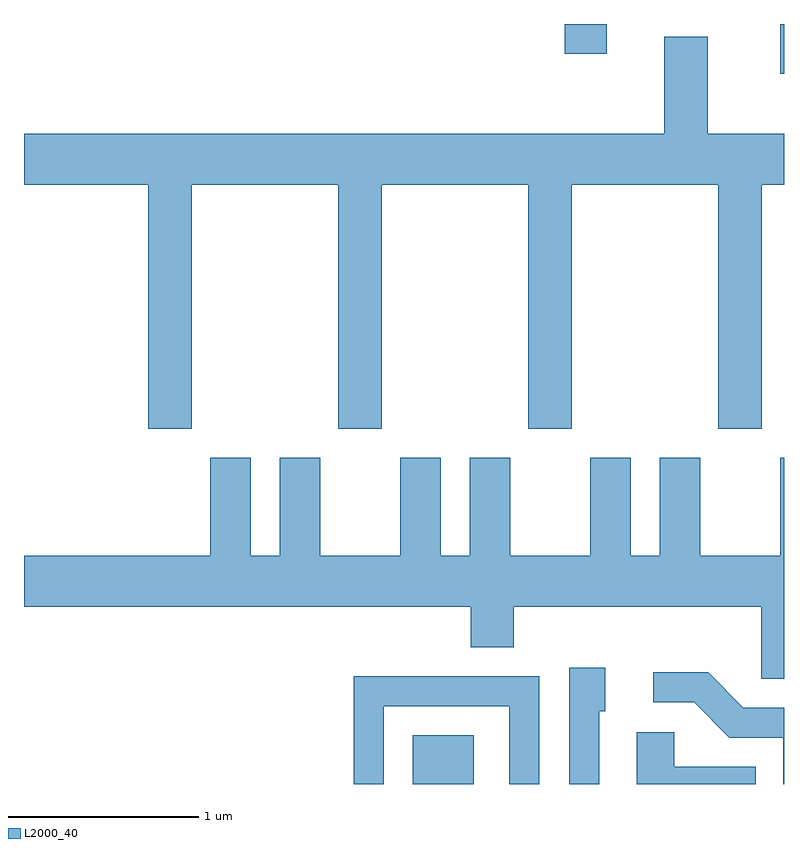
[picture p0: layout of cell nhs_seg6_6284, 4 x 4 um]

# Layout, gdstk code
import gdstk
lib = gdstk.Library(unit=1e-6, precision=1e-09)
def R(c, l, rs):  # rectangles x0, y0, x1, y1
    for r in rs: c.add(gdstk.rectangle(r[:2], r[2:], *l))
def P(c, l, *ps):  # polygons
    for p in ps: c.add(gdstk.Polygon(p, *l))
L2000_40 = (2000, 40)

nhs_seg6_6284 = lib.new_cell('nhs_seg6_6284')
R(nhs_seg6_6284, L2000_40, [(377.656,1600.162,377.979,1600.419), (379.591,1603.901,379.611,1604.162), (378.456,1604.006,378.679,1604.162)])
P(nhs_seg6_6284, L2000_40, [(376.494,1603.316),(377.266,1603.316),(377.266,1602.031),(377.494,1602.031),(377.494,1603.316),(378.266,1603.316),(378.266,1602.031),(378.494,1602.031),(378.494,1603.316),(379.266,1603.316),(379.266,1602.031),(379.494,1602.031),(379.494,1603.316),(379.611,1603.316),(379.611,1603.584),(379.209,1603.584),(379.209,1604.094),(378.981,1604.094),(378.981,1603.584),(375.611,1603.584),(375.611,1603.316),(376.266,1603.316),(376.266,1602.031),(376.494,1602.031)],
  [(379.611,1601.879),(379.591,1601.879),(379.591,1601.364),(379.169,1601.364),(379.169,1601.879),(378.956,1601.879),(378.956,1601.364),(378.804,1601.364),(378.804,1601.879),(378.591,1601.879),(378.591,1601.364),(378.169,1601.364),(378.169,1601.879),(377.956,1601.879),(377.956,1601.364),(377.804,1601.364),(377.804,1601.879),(377.591,1601.879),(377.591,1601.364),(377.169,1601.364),(377.169,1601.879),(376.956,1601.879),(376.956,1601.364),(376.804,1601.364),(376.804,1601.879),(376.591,1601.879),(376.591,1601.364),(375.611,1601.364),(375.611,1601.096),(377.961,1601.096),(377.961,1600.881),(378.189,1600.881),(378.189,1601.096),(379.491,1601.096),(379.491,1600.716),(379.611,1600.716)],
  [(378.639,1600.546),(378.669,1600.546),(378.669,1600.774),(378.481,1600.774),(378.481,1600.162),(378.639,1600.162)],
  [(379.611,1600.564),(379.397,1600.564),(379.212,1600.749),(378.923,1600.749),(378.923,1600.591),(379.139,1600.591),(379.324,1600.406),(379.606,1600.406),(379.606,1600.162),(379.611,1600.162)],
  [(377.504,1600.571),(378.166,1600.571),(378.166,1600.162),(378.324,1600.162),(378.324,1600.729),(377.346,1600.729),(377.346,1600.162),(377.504,1600.162)],
  [(379.463,1600.254),(379.034,1600.254),(379.034,1600.434),(378.836,1600.434),(378.836,1600.162),(379.463,1600.162)])

lib.write_gds('nhs_seg6_6284.gds')
